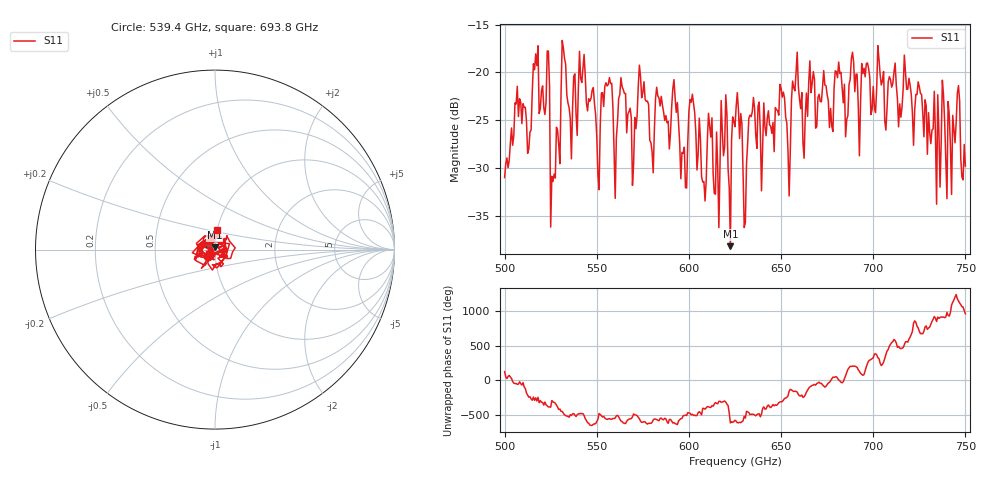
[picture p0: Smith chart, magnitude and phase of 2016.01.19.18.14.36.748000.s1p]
!Created with skrf (http://scikit-rf.org).
# GHz S RI R 50.0
!freq ReS11 ImS11
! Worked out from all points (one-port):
!   401 points, 500 GHz to 750 GHz, reference 50 ohm
!   lowest |S11| = -38.2 dB at 622.5 GHz (marker M1), VSWR 1.02, Z = 49.7 + j1.2 ohm
!   |S11| at or under -10 dB: start of sweep to end of sweep
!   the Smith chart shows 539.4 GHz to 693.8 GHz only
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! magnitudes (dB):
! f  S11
! 500 GHz  -31.0
! 506.9 GHz  -21.5
! 513.1 GHz  -28.0
! 516.9 GHz  -18.1
! 523.1 GHz  -17.8
! 526.2 GHz  -31.4
! 531.2 GHz  -16.7
! 535.6 GHz  -24.9
! 541.9 GHz  -21.1
! 550.6 GHz  -30.8
! 555.6 GHz  -21.4
! 560 GHz  -33.2
! 562.5 GHz  -22.3
! 593.8 GHz  -23.2
! 597.5 GHz  -27.8
! 601.2 GHz  -23.1
! 622.5 GHz  -38.2
! 625 GHz  -25.7
! 630.6 GHz  -35.7
! 633.8 GHz  -24.6
! 650.6 GHz  -22.6
! 653.8 GHz  -28.2
! 656.2 GHz  -20.9
! 687.5 GHz  -20.8
! 718.8 GHz  -21.8
! 735.6 GHz  -26.2
! 745.6 GHz  -22.2
! 750 GHz  -29.8
